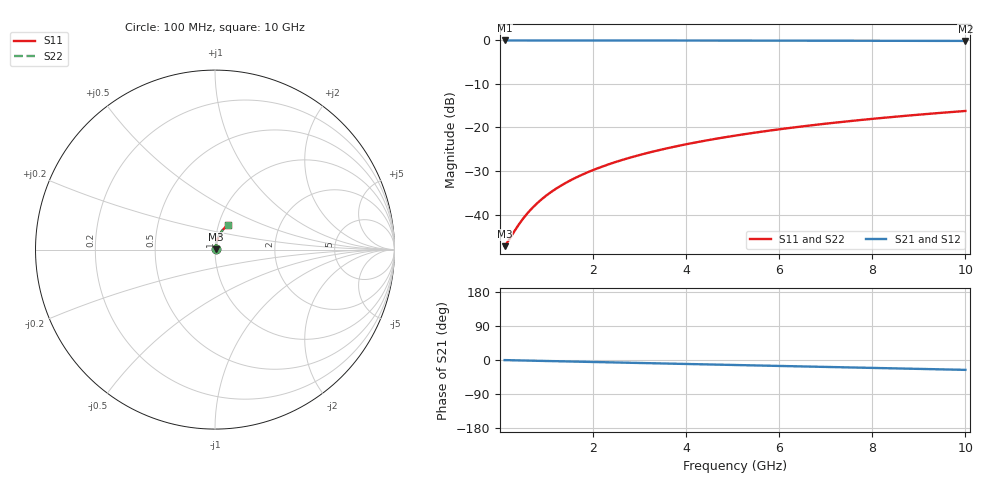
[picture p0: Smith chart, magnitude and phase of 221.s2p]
# Hz S RI R 50.00
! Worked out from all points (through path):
!   100 points, 100 MHz to 10 GHz, reference 50 ohm
!   highest |S21| = -0.04 dB at 100 MHz (marker M1); lowest = -0.1 dB at 10 GHz (marker M2)
!   group delay of S21, straight-line fit = 7.24 ps
!   lowest |S11| = -47.3 dB at 100 MHz (marker M3), VSWR 1.01, Z = 50.4 + j0.16 ohm
!   |S11| at or under -10 dB: start of sweep to end of sweep
!   |S22| runs from -47.3 to -16.2 dB; largest |S21 - S12| = 0
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1e8  0.00404 0.00159  0.996 -0.00455  0.996 -0.00455  0.00404 0.00159
2e8  0.00409 0.00318  0.9959 -0.00909  0.9959 -0.00909  0.00409 0.00318
4e8  0.00421 0.00636  0.9957 -0.0182  0.9957 -0.0182  0.00421 0.00636
5e8  0.00428 0.00795  0.9956 -0.0227  0.9956 -0.0227  0.00428 0.00795
6e8  0.00437 0.00954  0.9955 -0.0273  0.9955 -0.0273  0.00437 0.00954
7e8  0.00448 0.0111  0.9953 -0.0318  0.9953 -0.0318  0.00448 0.0111
8e8  0.0046 0.0127  0.9951 -0.0364  0.9951 -0.0364  0.0046 0.0127
1e9  0.00487 0.0159  0.9947 -0.0454  0.9947 -0.0454  0.00487 0.0159
1.2e9  0.00521 0.019  0.9941 -0.0545  0.9941 -0.0545  0.00521 0.019
1.5e9  0.00581 0.0238  0.9932 -0.0681  0.9932 -0.0681  0.00581 0.0238
1.8e9  0.00654 0.0285  0.992 -0.0817  0.992 -0.0817  0.00654 0.0285
2.1e9  0.0074 0.0332  0.9906 -0.0952  0.9906 -0.0952  0.0074 0.0332
2.5e9  0.00875 0.0394  0.9884 -0.1133  0.9884 -0.1133  0.00875 0.0394
2.9e9  0.0103 0.0455  0.9859 -0.1313  0.9859 -0.1313  0.0103 0.0455
3.4e9  0.0126 0.0531  0.9822 -0.1536  0.9822 -0.1536  0.0126 0.0531
4.2e9  0.0169 0.065  0.9752 -0.1892  0.9752 -0.1892  0.0169 0.065
5.1e9  0.0228 0.078  0.9656 -0.2287  0.9656 -0.2287  0.0228 0.078
5.9e9  0.029 0.0891  0.9555 -0.2634  0.9555 -0.2634  0.029 0.0891
6.7e9  0.0358 0.0996  0.9442 -0.2975  0.9442 -0.2975  0.0358 0.0996
7.5e9  0.0435 0.1097  0.9314 -0.3311  0.9314 -0.3311  0.0435 0.1097
8.4e9  0.0529 0.1202  0.9156 -0.3681  0.9156 -0.3681  0.0529 0.1202
1e10  0.0716 0.1369  0.8837 -0.4317  0.8837 -0.4317  0.0716 0.1369
